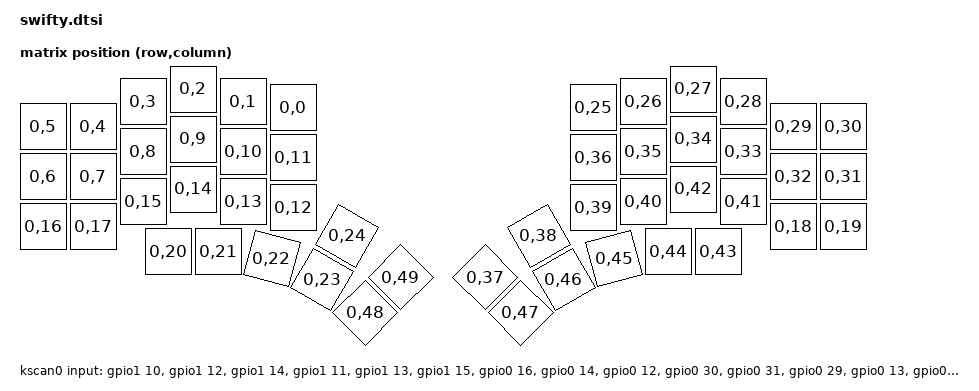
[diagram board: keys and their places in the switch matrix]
/*
 * Copyright (c) 2022 The ZMK Contributors
 *
 * SPDX-License-Identifier: MIT
 */

#include <dt-bindings/zmk/matrix_transform.h>
#include <physical_layouts.dtsi>
#include <zephyr/dt-bindings/led/led.h>

/ {
	chosen {
		zmk,kscan = &kscan0;
		zmk,physical-layout = &physical_layout0;
		zmk,studio-rpc-uart = &studio_rpc_usb_uart;
		zmk,underglow = &led_strip;
	};

	default_transform: keymap_transform_0 {
		compatible = "zmk,matrix-transform";
		
		columns = <50>;
		rows = <1>;

		map = <
		RC(0,5) RC(0,4) RC(0,3) RC(0,2) RC(0,1) RC(0,0)                          RC(0,25) RC(0,26) RC(0,27) RC(0,28) RC(0,29) RC(0,30)
		RC(0,6) RC(0,7) RC(0,8) RC(0,9) RC(0,10) RC(0,11)                        RC(0,36) RC(0,35) RC(0,34) RC(0,33) RC(0,32) RC(0,31)
		RC(0,16) RC(0,17) RC(0,15) RC(0,14) RC(0,13) RC(0,12) RC(0,24)  RC(0,49) RC(0,37) RC(0,38) RC(0,39) RC(0,40) RC(0,42) RC(0,41)
		         RC(0,18) RC(0,19) RC(0,20) RC(0,21) RC(0,22) RC(0,23)  RC(0,48) RC(0,47) RC(0,46) RC(0,45) RC(0,44) RC(0,43)
		>;
	};


	kscan0: kscan_0 {
		compatible = "zmk,kscan-gpio-direct";
		input-gpios
		= <&gpio1 10 (GPIO_PULL_UP | GPIO_ACTIVE_LOW)>
		, <&gpio1 12 (GPIO_PULL_UP | GPIO_ACTIVE_LOW)>
		, <&gpio1 14 (GPIO_PULL_UP | GPIO_ACTIVE_LOW)>
		, <&gpio1 11 (GPIO_PULL_UP | GPIO_ACTIVE_LOW)>
		, <&gpio1 13 (GPIO_PULL_UP | GPIO_ACTIVE_LOW)>
		, <&gpio1 15 (GPIO_PULL_UP | GPIO_ACTIVE_LOW)>
		, <&gpio0 16 (GPIO_PULL_UP | GPIO_ACTIVE_LOW)>
		, <&gpio0 14 (GPIO_PULL_UP | GPIO_ACTIVE_LOW)>
		, <&gpio0 12 (GPIO_PULL_UP | GPIO_ACTIVE_LOW)>
		, <&gpio0 30 (GPIO_PULL_UP | GPIO_ACTIVE_LOW)>
		, <&gpio0 31 (GPIO_PULL_UP | GPIO_ACTIVE_LOW)>
		, <&gpio0 29 (GPIO_PULL_UP | GPIO_ACTIVE_LOW)>
		, <&gpio0 13 (GPIO_PULL_UP | GPIO_ACTIVE_LOW)>
		, <&gpio0 15 (GPIO_PULL_UP | GPIO_ACTIVE_LOW)>
		, <&gpio0 17 (GPIO_PULL_UP | GPIO_ACTIVE_LOW)>
		, <&gpio0 19 (GPIO_PULL_UP | GPIO_ACTIVE_LOW)>
		, <&gpio0 21 (GPIO_PULL_UP | GPIO_ACTIVE_LOW)>
		, <&gpio0 23 (GPIO_PULL_UP | GPIO_ACTIVE_LOW)>
		, <&gpio0 20 (GPIO_PULL_UP | GPIO_ACTIVE_LOW)>
		, <&gpio0 22 (GPIO_PULL_UP | GPIO_ACTIVE_LOW)>
		, <&gpio1  0 (GPIO_PULL_UP | GPIO_ACTIVE_LOW)>
		, <&gpio0 25 (GPIO_PULL_UP | GPIO_ACTIVE_LOW)>
		, <&gpio0  9 (GPIO_PULL_UP | GPIO_ACTIVE_LOW)>
		, <&gpio0 10 (GPIO_PULL_UP | GPIO_ACTIVE_LOW)>
		, <&gpio0 24 (GPIO_PULL_UP | GPIO_ACTIVE_LOW)>
		;
	};


	physical_layout0: physical_layout_0 { 
		compatible = "zmk,physical-layout";
		display-name = "6 Column. 7 thumb keys";

		transform = <&default_transform>;
		kscan = <&kscan0>;

		keys  //                     w   h    x    y     rot    rx    ry
		= <&key_physical_attrs 100 100    0   75       0     0     0>
		, <&key_physical_attrs 100 100  100   75       0     0     0>
		, <&key_physical_attrs 100 100  200   25       0     0     0>
		, <&key_physical_attrs 100 100  300    0       0     0     0>
		, <&key_physical_attrs 100 100  400   25       0     0     0>
		, <&key_physical_attrs 100 100  500   37       0     0     0>
		, <&key_physical_attrs 100 100 1100   37       0     0     0>
		, <&key_physical_attrs 100 100 1200   25       0     0     0>
		, <&key_physical_attrs 100 100 1300    0       0     0     0>
		, <&key_physical_attrs 100 100 1400   25       0     0     0>
		, <&key_physical_attrs 100 100 1500   75       0     0     0>
		, <&key_physical_attrs 100 100 1600   75       0     0     0>
		, <&key_physical_attrs 100 100    0  175       0     0     0>
		, <&key_physical_attrs 100 100  100  175       0     0     0>
		, <&key_physical_attrs 100 100  200  125       0     0     0>
		, <&key_physical_attrs 100 100  300  100       0     0     0>
		, <&key_physical_attrs 100 100  400  125       0     0     0>
		, <&key_physical_attrs 100 100  500  137       0     0     0>
		, <&key_physical_attrs 100 100 1100  137       0     0     0>
		, <&key_physical_attrs 100 100 1200  125       0     0     0>
		, <&key_physical_attrs 100 100 1300  100       0     0     0>
		, <&key_physical_attrs 100 100 1400  125       0     0     0>
		, <&key_physical_attrs 100 100 1500  175       0     0     0>
		, <&key_physical_attrs 100 100 1600  175       0     0     0>
		, <&key_physical_attrs 100 100    0  275       0     0     0>
		, <&key_physical_attrs 100 100  100  275       0     0     0>
		, <&key_physical_attrs 100 100  200  225       0     0     0>
		, <&key_physical_attrs 100 100  300  200       0     0     0>
		, <&key_physical_attrs 100 100  400  225       0     0     0>
		, <&key_physical_attrs 100 100  500  237       0     0     0>
		, <&key_physical_attrs 100 100  350  225    3000   400   792>
		, <&key_physical_attrs 100 100  350  225    4500   400   792>
		, <&key_physical_attrs 100 100 1250  225 (-4500)  1300   792>
		, <&key_physical_attrs 100 100 1250  225 (-3000)  1300   792>
		, <&key_physical_attrs 100 100 1100  237       0     0     0>
		, <&key_physical_attrs 100 100 1200  225       0     0     0>
		, <&key_physical_attrs 100 100 1300  200       0     0     0>
		, <&key_physical_attrs 100 100 1400  225       0     0     0>
		, <&key_physical_attrs 100 100 1500  275       0     0     0>
		, <&key_physical_attrs 100 100 1600  275       0     0     0>
		, <&key_physical_attrs 100 100  250  325       0     0     0>
		, <&key_physical_attrs 100 100  350  325       0     0     0>
		, <&key_physical_attrs 100 100  350  325    1500   400   792>
		, <&key_physical_attrs 100 100  350  325    3000   400   792>
		, <&key_physical_attrs 100 100  350  325    4500   400   792>
		, <&key_physical_attrs 100 100 1250  325 (-4500)  1300   792>
		, <&key_physical_attrs 100 100 1250  325 (-3000)  1300   792>
		, <&key_physical_attrs 100 100 1250  325 (-1500)  1300   792>
		, <&key_physical_attrs 100 100 1250  325       0     0     0>
		, <&key_physical_attrs 100 100 1350  325       0     0     0>
		;
	};


};

&zephyr_udc0 {
	studio_rpc_usb_uart: studio_rpc_usb_uart {
		compatible = "zephyr,cdc-acm-uart";
	};
};

&uicr {
	nfct-pins-as-gpios;
};

&pinctrl {
	/*
	 * Placeholder until the WS2812 data line is routed to a real
	 * pad. NRF_PSEL_DISCONNECTED lets the DT parse so the rest of
	 * the keyboard builds even without functioning underglow.
	 * Replace with the real <NRF_PSEL(I2S_SDOUT, port, pin)> once
	 * the LED data pin is known.
	 */
	i2s0_default_alt: i2s0_default_alt {
		group1 {
			psels = <NRF_PSEL_DISCONNECTED(I2S_SDOUT)>;
		};
	};
};

i2s_led: &i2s0 {
	status = "okay";
	pinctrl-0 = <&i2s0_default_alt>;
	pinctrl-names = "default";

	led_strip: ws2812@0 {
		compatible = "worldsemi,ws2812-i2s";
		reg = <0>;
		chain-length = <25>; /* arbitrary change at will */
		color-mapping = <LED_COLOR_ID_GREEN
				 LED_COLOR_ID_RED
				 LED_COLOR_ID_BLUE>;
		reset-delay = <120>;
	};
};

/*
 * nice_nano declares an EXT_POWER node on P0.13. Override it to
 * point at Swifty's actual ext-power control pin on P1.6 instead
 * of creating a duplicate ext_power node (which collides in the
 * generated DT macro namespace).
 */
&{/EXT_POWER} {
	control-gpios = <&gpio1 6 GPIO_ACTIVE_HIGH>;
};

/ {
	aliases {
		led-strip = &led_strip;
	};
};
